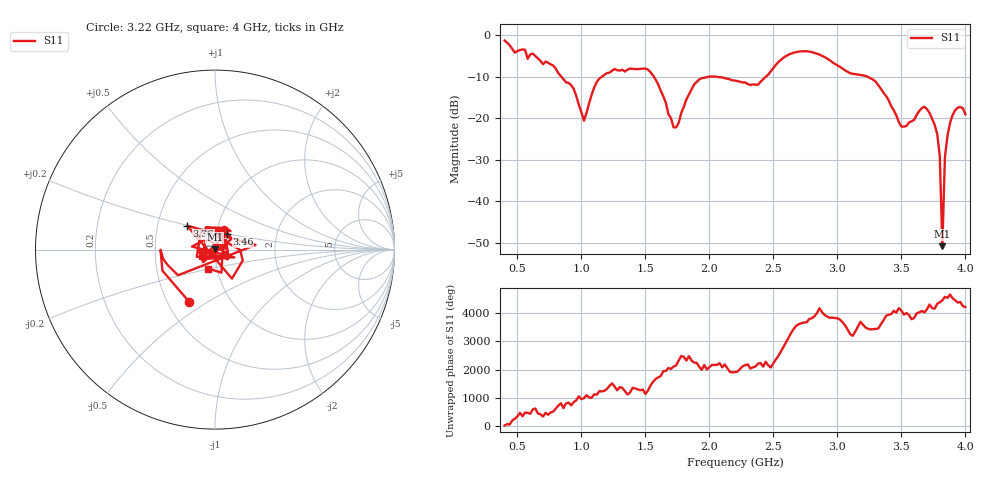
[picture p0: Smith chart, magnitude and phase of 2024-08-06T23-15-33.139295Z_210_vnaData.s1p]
!Created with skrf (http://scikit-rf.org).
# Hz S RI R 50.0
!freq ReS11 ImS11
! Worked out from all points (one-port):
!   181 points, 400 MHz to 4 GHz, reference 50 ohm
!   lowest |S11| = -50.8 dB at 3.82 GHz (marker M1), VSWR 1.01, Z = 49.8 + j0.232 ohm
!   |S11| at or under -10 dB: 1.567 GHz to 1.987 GHz (419.7 MHz wide, 23.6 % of centre); 2.064 GHz to 2.44 GHz (376.5 MHz wide, 16.7 % of centre); 3.238 GHz to end of sweep (the widest 3 of 4)
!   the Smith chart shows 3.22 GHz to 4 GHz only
!   S11 on the Smith chart (normalised r, x): 3.22 GHz: 0.64, -0.42; 3.36 GHz: 0.71, +0.20; 3.46 GHz: 1.12, +0.20; 4 GHz: 0.91, -0.19
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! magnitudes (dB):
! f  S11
! 400 MHz  -1.2
! 860 MHz  -10.5
! 940 MHz  -12.8
! 1.02 GHz  -20.5
! 1.12 GHz  -11.2
! 1.3 GHz  -8.5
! 1.52 GHz  -8.2
! 1.6 GHz  -11.8
! 1.72 GHz  -22.1
! 1.76 GHz  -21.0
! 1.92 GHz  -10.6
! 2.2 GHz  -10.9
! 2.38 GHz  -11.8
! 2.66 GHz  -4.1
! 3.1 GHz  -9.1
! 3.22 GHz  -9.8
! 3.36 GHz  -13.8
! 3.46 GHz  -19.2
! 3.5 GHz  -21.9
! 3.56 GHz  -21.0
! 3.68 GHz  -17.2
! 3.78 GHz  -23.8
! 3.8 GHz  -29.1
! 3.82 GHz  -50.8
! 3.84 GHz  -29.3
! 3.86 GHz  -24.2
! 3.92 GHz  -18.0
! 4 GHz  -19.0
